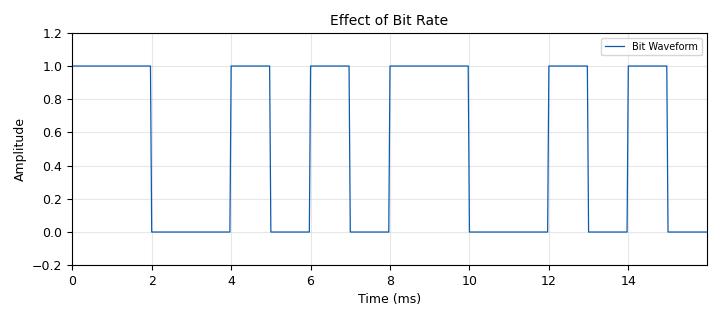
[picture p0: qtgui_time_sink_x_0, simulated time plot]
options:
  parameters:
    author: Dhrubjun
    generate_options: qt_gui
    id: exp2
    output_language: python
    title: Bit Rate and Bit Duration
  states: {}

blocks:
- name: bit_rate
  id: variable_qtgui_range
  parameters:
    label: Bit Rate (bit/s)
    start: '500'
    step: '500'
    stop: '4000'
    value: '1000'
  states: {}
- name: samp_rate
  id: variable
  parameters:
    value: '32000'
  states: {}
- name: samples_per_bit
  id: variable
  parameters:
    value: int(samp_rate / bit_rate)
  states: {}
- name: blocks_repeat_0
  id: blocks_repeat
  parameters:
    interp: samples_per_bit
    type: float
  states: {}
- name: blocks_throttle2_0
  id: blocks_throttle2
  parameters:
    samples_per_second: samp_rate
    type: float
  states: {}
- name: blocks_uchar_to_float_0
  id: blocks_uchar_to_float
  parameters: {}
  states: {}
- name: blocks_vector_source_x_0
  id: blocks_vector_source_x
  parameters:
    repeat: 'True'
    type: byte
    vector: (1, 0, 1, 1, 0, 0, 1, 0)
  states: {}
- name: qtgui_time_sink_x_0
  id: qtgui_time_sink_x
  parameters:
    grid: 'True'
    label1: Bit Waveform
    name: Effect of Bit Rate
    size: '512'
    srate: samp_rate
    type: float
    ymax: '1.2'
    ymin: '-0.2'
  states: {}

connections:
- [blocks_repeat_0, '0', blocks_throttle2_0, '0']
- [blocks_throttle2_0, '0', qtgui_time_sink_x_0, '0']
- [blocks_uchar_to_float_0, '0', blocks_repeat_0, '0']
- [blocks_vector_source_x_0, '0', blocks_uchar_to_float_0, '0']

metadata:
  file_format: 1
  grc_version: 3.10.12.0
